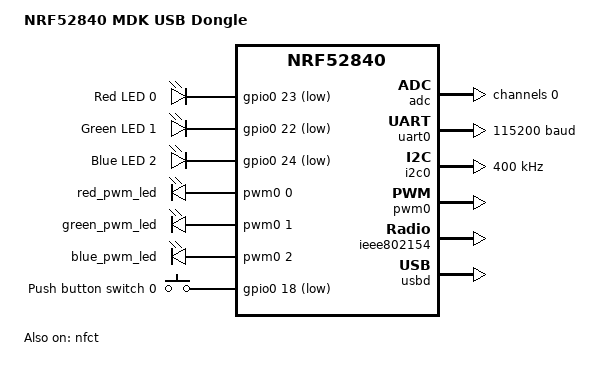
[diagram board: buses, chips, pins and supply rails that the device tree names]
/*
 * Copyright (c) 2016-2023 Makerdiary
 *
 * SPDX-License-Identifier: Apache-2.0
 */

/dts-v1/;
#include <nordic/nrf52840_qiaa.dtsi>
#include "dongle_nrf52840-pinctrl.dtsi"

/ {
    model = "NRF52840 MDK USB Dongle";
    compatible = "nordic,dongle-nrf52840";

    chosen {
        zephyr,console = &uart0;
        zephyr,shell-uart = &uart0;
        zephyr,uart-mcumgr = &uart0;
        zephyr,bt-mon-uart = &uart0;
        zephyr,bt-c2h-uart = &uart0;
        zephyr,sram = &sram0;
        zephyr,flash = &flash0;
        zephyr,code-partition = &slot0_partition;
        zephyr,ieee802154 = &ieee802154;
    };

    leds {
        compatible = "gpio-leds";
        led0_red: led_0 {
            gpios = <&gpio0 23 GPIO_ACTIVE_LOW>;
            label = "Red LED 0";
        };
        led0_green: led_1 {
            gpios = <&gpio0 22 GPIO_ACTIVE_LOW>;
            label = "Green LED 1";
        };
        led0_blue: led_2 {
            gpios = <&gpio0 24 GPIO_ACTIVE_LOW>;
            label = "Blue LED 2";
        };
    };

    pwmleds {
        compatible = "pwm-leds";
        red_pwm_led: pwm_led_0 {
            pwms = <&pwm0 0 PWM_MSEC(20) PWM_POLARITY_INVERTED>;
        };        
        green_pwm_led: pwm_led_1 {
            pwms = <&pwm0 1 PWM_MSEC(20) PWM_POLARITY_INVERTED>;
        };
        blue_pwm_led: pwm_led_2 {
            pwms = <&pwm0 2 PWM_MSEC(20) PWM_POLARITY_INVERTED>;
        };
    };

    buttons {
        compatible = "gpio-keys";
        button0: button_0 {
            gpios = <&gpio0 18 (GPIO_PULL_UP | GPIO_ACTIVE_LOW)>;
            label = "Push button switch 0";
        };
    };

    /* These aliases are provided for compatibility with samples */
    aliases {
        sw0 = &button0;
        led0 = &led0_red;
        led1 = &led0_green;
        led2 = &led0_blue;
        led0-red   = &led0_red;
        led0-green = &led0_green;
        led0-blue  = &led0_blue;
        pwm-led0 = &red_pwm_led;
        pwm-led1 = &green_pwm_led;
        pwm-led2 = &blue_pwm_led;
        red-pwm-led = &red_pwm_led;
        green-pwm-led = &green_pwm_led;
        blue-pwm-led = &blue_pwm_led;
        mcuboot-button0 = &button0;
        mcuboot-led0 = &led0_green;
        watchdog0 = &wdt0;
    };
};

&adc {
    status = "okay";
    #address-cells = <1>;
    #size-cells = <0>;

    channel@0 {
        reg = <0>;
        zephyr,gain = "ADC_GAIN_1_4";
        zephyr,reference = "ADC_REF_INTERNAL";
        zephyr,acquisition-time = <ADC_ACQ_TIME(ADC_ACQ_TIME_MICROSECONDS, 40)>;
        zephyr,input-positive = <NRF_SAADC_AIN2>; /* P0.04 */
        zephyr,resolution = <12>;
        zephyr,oversampling = <4>;
    };
};

&gpiote {
    status = "okay";
};

&gpio0 {
    status = "okay";
};

&gpio1 {
    status = "okay";
};

&uart0 {
    status = "okay";
    compatible = "nordic,nrf-uarte";
    current-speed = <115200>;
    pinctrl-0 = <&uart0_default>;
    pinctrl-1 = <&uart0_sleep>;
    pinctrl-names = "default", "sleep";
};

&i2c0 {
    compatible = "nordic,nrf-twim";
    status = "okay";
    pinctrl-0 = <&i2c0_default>;
    pinctrl-1 = <&i2c0_sleep>;
    pinctrl-names = "default", "sleep";
    clock-frequency = <I2C_BITRATE_FAST>;
};

&pwm0 {
    status = "okay";
    pinctrl-0 = <&pwm0_default>;
    pinctrl-1 = <&pwm0_sleep>;
    pinctrl-names = "default", "sleep";
};

&nfct {
    status = "okay";
};

&ieee802154 {
     status = "okay";
};

/* Include flash partition table.
 * fstab-uf2-bootloader -compatible with UF2 bootloader, default
 */
#include "fstab-uf2-bootloader.dts"

zephyr_udc0: &usbd {
    compatible = "nordic,nrf-usbd";
    status = "okay";
};
